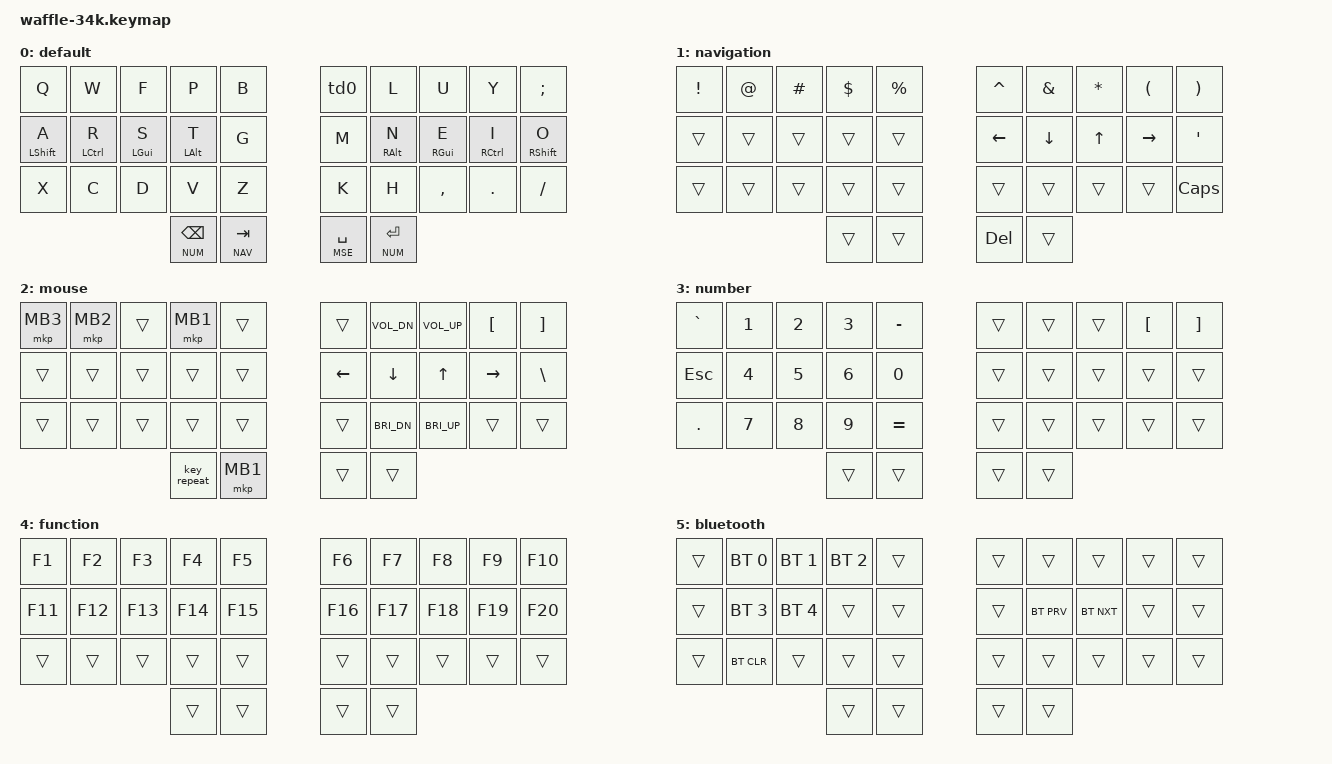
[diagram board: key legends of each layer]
#include <behaviors.dtsi>
#include <dt-bindings/zmk/keys.h>
#include <dt-bindings/zmk/bt.h>
#include <dt-bindings/zmk/mouse.h>

#define DEF 0
#define NAV 1
#define MSE  2
#define NUM 3
#define FNC 4
#define BTH 5

/ {
  combos {
    compatible = "zmk,combos";
    combo_bt {
      timeout-ms = <150>;
      key-positions = <31 32>;
      bindings = <&mo BTH>;
    };
  };

  behaviors {
    bhm: balanced_homerow_mods {
      compatible = "zmk,behavior-hold-tap";
      #binding-cells = <2>;
      tapping-term-ms = <200>;    // <---[[moderate duration]]
      quick-tap-ms = <0>;
      flavor = "balanced";
      bindings = <&kp>, <&kp>;
    };

    td0: tap_dance_0 {
      compatible = "zmk,behavior-tap-dance";
      #binding-cells = <0>;
      tapping-term-ms = <190>;
      bindings = <&kp J>, <&kp ESC>;
    };
  };

  keymap {
    compatible = "zmk,keymap";

    // -----------------------------------------------------------------------------------------
    // |  Q  |  W  |  F  |  P  |  B  |   |  J  |  L   |  U  |  Y  |  ;  |
    // |  A  |  R  |  S  |  T  |  G  |   |  M  |  N   |  E  |  I  |  O  |
    // |  X  |  C  |  D  |  V  |  Z  |   |  K  |  H   |  ,  |  .  |  /  |
    //                    | GUI | LWR | SPC |   | ENT | RSE  | ALT |
    default {
      bindings = <
        &kp Q &kp W &kp F &kp P    &kp B    &td0      &kp L   &kp U     &kp Y   &kp SEMI   
        &bhm LSHIFT A &bhm LCTRL R &bhm LGUI S &bhm LALT T    &kp G    &kp M      &bhm RALT N   &bhm RGUI E     &bhm RCTRL I   &bhm RSHIFT O
        &kp X &kp C &kp D &kp V    &kp Z    &kp K      &kp H   &kp COMMA &kp DOT &kp FSLH
        &lt NUM BSPC  &lt NAV TAB  &lt MSE SPACE  &lt NUM RET  
      >;
    };

    navigation {
      bindings = <
        &kp EXCL &kp AT &kp HASH &kp DLLR &kp PRCNT &kp CARET &kp AMPS &kp STAR &kp LPAR &kp RPAR 
        &trans   &trans &trans   &trans   &trans    &kp LEFT &kp DOWN &kp UP &kp RIGHT &kp SQT
        &trans   &trans &trans   &trans   &trans    &trans    &trans   &trans   &trans   &kp CAPS 
        &trans   &trans &kp DEL   &trans   
      >;
    };

    mouse {
      bindings = <
        &mkp MB3 &mkp MB2 &trans &mkp MB1 &trans    &trans    &kp K_VOL_DN    &kp K_VOL_UP    &kp LBKT    &kp RBKT 
        &trans   &trans   &trans   &trans   &trans    &kp LEFT  &kp DOWN          &kp UP          &kp RIGHT   &kp BSLH
        &trans   &trans   &trans   &trans   &trans    &trans    &kp C_BRI_DN    &kp C_BRI_UP    &trans       &trans 
        &key_repeat   &mkp MB1 &trans   &trans   
      >;
    };

    number {
      bindings = <
        &kp GRAVE &kp N1 &kp N2 &kp N3 &kp MINUS &trans &trans &trans &kp LBKT &kp RBKT 
        &kp ESC   &kp N4 &kp N5   &kp N6   &kp N0    &trans &trans &trans &trans &trans 
        &kp DOT   &kp N7 &kp N8   &kp N9   &kp EQUAL    &trans    &trans   &trans   &trans   &trans 
        &trans   &trans &trans   &trans   
      >;
    };

    function {
      bindings = <
        &kp F1 &kp F2 &kp F3 &kp F4 &kp F5 &kp F6 &kp F7 &kp F8 &kp F9 &kp F10
        &kp F11 &kp F12 &kp F13 &kp F14 &kp F15 &kp F16 &kp F17 &kp F18 &kp F19 &kp F20
        &trans &trans &trans &trans &trans &trans &trans &trans &trans &trans 
        &trans   &trans &trans   &trans   
      >;
    };

    bluetooth {
      bindings = <
        &trans &bt BT_SEL 0 &bt BT_SEL 1 &bt BT_SEL 2 &trans &trans &trans &trans &trans &trans 
        &trans &bt BT_SEL 3 &bt BT_SEL 4 &trans &trans &trans &bt BT_PRV &bt BT_NXT &trans &trans 
        &trans &bt BT_CLR &trans &trans &trans &trans &trans &trans &trans &trans 
        &trans &trans &trans &trans 
      >;
    };

  };
}; 
